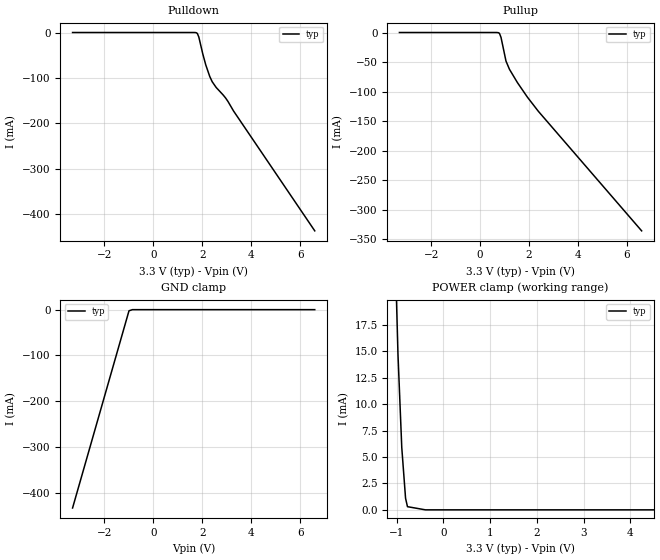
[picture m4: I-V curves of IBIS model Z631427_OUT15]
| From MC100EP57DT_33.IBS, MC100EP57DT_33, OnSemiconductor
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| (C) COPYRIGHT 1993-2000
| MENTOR GRAPHICS CORPORATION
| ICX STANDARD LIBRARY, ICX PROJECT MODELING,
| ICX CUSTOM MODELING, ICX VENDOR MODEL
| ALL RIGHTS RESERVED.
| THE FOLLOWING ARE TRADEMARKS OR SERVICE MARKS OF
| MENTOR GRAPHICS CORPORATION:ICX (R), ICX STANDARD
| LIBRARY(R), ICX PROJECT MODELING(R), ICX CUSTOM
| MODELING(R), qualityIBIS(TM), MODELVIEWER(TM),
| AND MODELEDITOR(TM)
| ALL COPIES OF SOFTWARE, INCLUDING BUT NOT LIMITED TO
| ANY MODIFICATIONS, ENHANCEMENTS OR DERIVATIVE WORKS,
| MUST CONTAIN ALL MENTOR GRAPHICS CORPORATION'S
| NOTICES AND LEGENDS, INCLUDING THOSE EMBEDDED IN
| SOFTWARE AND THOSE AFFIXED TO SOFTWARE MEDIUM
| AND CONTAINER, AS RECEIVED FROM MENTOR GRAPHICS
| CORPORATION.
| Model Application Version 1.89 2/18/99.
[Model] Z631427_OUT15
Model_type Output_ECL
Vref=1.300V
Rref=50.00ohms
Cref=0.000F
Vmeas=1.805V
C_comp 2.000pF NA NA
| variable typ   min   max
[Voltage Range] 3.300V NA NA
[POWER Clamp Reference] 3.300V NA NA
[Pullup Reference] 3.300V NA NA
[Pulldown Reference] 3.300V NA NA
[GND Clamp Reference] 0.000V NA NA
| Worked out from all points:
|   GND clamp passes 1 mA (typ) near -0.91 V on its own axis
|   POWER clamp passes 1 mA (typ) near -0.80 V on its own axis
[GND Clamp]
-3.3V     -433.2mA   NA         NA
-993mV    -2.435mA   NA         NA
-851.1mV  0A         NA         NA
6.6V      0A         NA         NA
[Pulldown]
-3.3V     0A         NA         NA
1.679V    0A         NA         NA
1.8V      -2.1mA     NA         NA
1.861V    -10mA      NA         NA
2.023V    -47.3mA    NA         NA
2.145V    -71.5mA    NA         NA
2.307V    -96.9mA    NA         NA
2.409V    -108.7mA   NA         NA
2.571V    -121.3mA   NA         NA
2.956V    -144.5mA   NA         NA
3.28V     -173.1mA   NA         NA
6.6V      -437.5mA   NA         NA
[Pullup]
-3.3V     0A         NA         NA
670mV     0A         NA         NA
731mV     -200uA     NA         NA
771mV     -900uA     NA         NA
792mV     -1.8mA     NA         NA
853mV     -8.4mA     NA         NA
1.055V    -48.3mA    NA         NA
1.197V    -62.2mA    NA         NA
1.521V    -84.6mA    NA         NA
1.927V    -109.1mA   NA         NA
2.373V    -133mA     NA         NA
6.6V      -335.4mA   NA         NA
[POWER Clamp]
-3.3V     387.4mA    NA         NA
-972mV    14.7mA     NA         NA
-891mV    5.9mA      NA         NA
-810mV    1.1mA      NA         NA
-769mV    300uA      NA         NA
-384.5mV  0A         NA         NA
6.6V      0A         NA         NA
[Ramp]
| variable typ min max
dV/dt_r 412.0m/99.28p NA NA
dV/dt_f 412.0m/96.68p NA NA
R_load = 50.00Ohms
